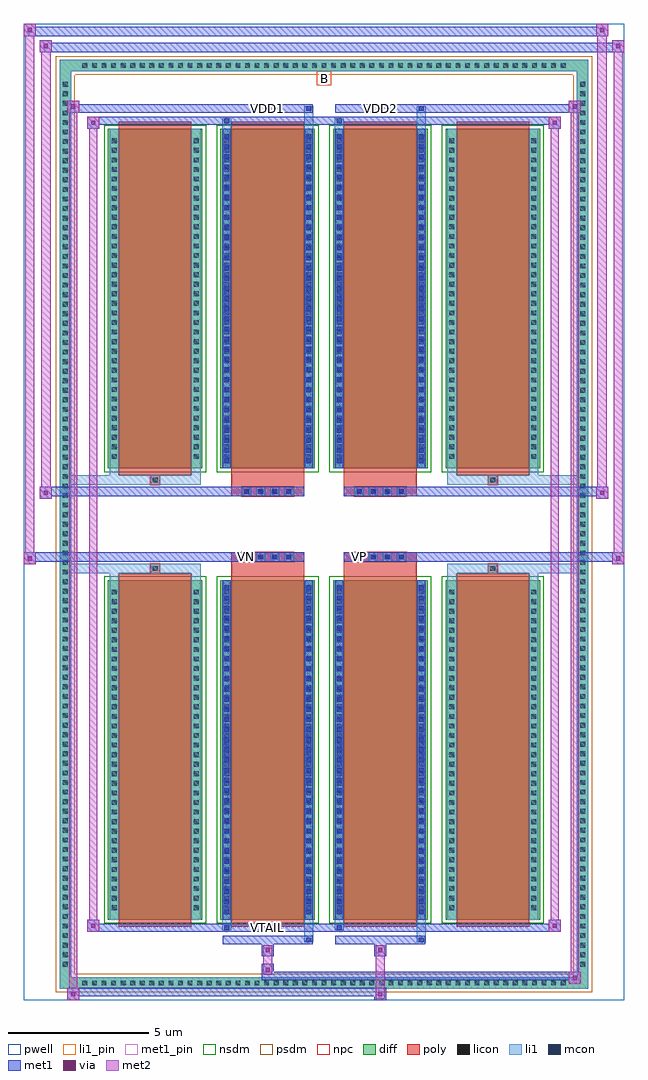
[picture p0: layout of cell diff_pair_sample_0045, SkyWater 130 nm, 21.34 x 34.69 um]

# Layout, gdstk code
import gdstk
lib = gdstk.Library(unit=1e-6, precision=5e-09)
def R(c, l, rs):  # rectangles x0, y0, x1, y1
    for r in rs: c.add(gdstk.rectangle(r[:2], r[2:], *l))
def A(c, l, x, y, w, h, nx, ny, dx, dy):  # array of equal rectangles
    R(c, l, [(x+i*dx, y+j*dy, x+i*dx+w, y+j*dy+h) for i in range(nx) for j in range(ny)])
def P(c, l, *ps):  # polygons
    for p in ps: c.add(gdstk.Polygon(p, *l))
pwell = (64, 44)
diff = (65, 20)
poly = (66, 20)
licon = (66, 44)
li1_pin = (67, 16)
li1 = (67, 20)
mcon = (67, 44)
met1_pin = (68, 16)
met1 = (68, 20)
via = (68, 44)
met2 = (69, 20)
nsdm = (93, 44)
psdm = (94, 20)
npc = (95, 20)

diff_pair_sample_0045 = lib.new_cell('diff_pair_sample_0045')
R(diff_pair_sample_0045, pwell, [(-10.67,-16.91,10.67,17.78), (-7.99,-15.1,-0.01,-0.8), (0.01,-15.1,7.99,-0.8), (-7.99,0.8,-0.01,15.1), (0.01,0.8,7.99,15.1)])
A(diff_pair_sample_0045, diff, -8.705, -16.51, 0.41, 0.41, 51, 2, 0.34, 32.61)
A(diff_pair_sample_0045, diff, -9.4, -15.845, 0.41, 0.41, 1, 93, 0, 0.34)
A(diff_pair_sample_0045, diff, 8.99, -15.845, 0.41, 0.41, 1, 93, 0, 0.34)
A(diff_pair_sample_0045, diff, -7.68, -14.055, 3.36, 12.07, 4, 2, 4, 16.04)
R(diff_pair_sample_0045, diff, [(-8.705,-16.51,8.705,-16.1), (-9.4,-15.845,-8.99,15.845), (8.99,-15.845,9.4,15.845), (-8.705,16.1,8.705,16.51)])
P(diff_pair_sample_0045, diff, [(9.4,16.51),(-9.4,16.51),(-9.4,-16.1),(-8.99,-16.1),(-8.99,16.1),(8.99,16.1),(8.99,-16.1),(-8.99,-16.1),(-9.4,-16.1),(-9.4,-16.51),(9.4,-16.51)])
A(diff_pair_sample_0045, poly, -7.29, -14.305, 2.58, 12.57, 4, 2, 4, 16.04)
A(diff_pair_sample_0045, poly, -2.915, -1.33, 0.33, 0.33, 4, 2, 0.5, 2.33)
A(diff_pair_sample_0045, poly, 1.085, -1.33, 0.33, 0.33, 4, 2, 0.5, 2.33)
R(diff_pair_sample_0045, poly, [(-6.165,-1.735,-5.835,-1.405), (-6.165,-1.735,-5.835,-1.405), (-3.29,-1.735,-0.71,-1.33), (0.71,-1.735,3.29,-1.33), (5.835,-1.735,6.165,-1.405), (5.835,-1.735,6.165,-1.405), (-3.29,-1.33,-0.71,-1), (0.71,-1.33,3.29,-1), (-3.29,1,-0.71,1.33), (0.71,1,3.29,1.33), (-3.29,1.33,-0.71,1.735), (0.71,1.33,3.29,1.735), (-6.165,1.405,-5.835,1.735), (-6.165,1.405,-5.835,1.735), (5.835,1.405,6.165,1.735), (5.835,1.405,6.165,1.735)])
A(diff_pair_sample_0045, licon, -8.585, -16.39, 0.17, 0.17, 51, 2, 0.34, 32.61)
A(diff_pair_sample_0045, licon, -9.28, -15.725, 0.17, 0.17, 1, 93, 0, 0.34)
A(diff_pair_sample_0045, licon, 9.11, -15.725, 0.17, 0.17, 1, 93, 0, 0.34)
A(diff_pair_sample_0045, licon, -7.54, -13.715, 0.17, 0.17, 1, 34, 0, 0.34)
A(diff_pair_sample_0045, licon, -4.63, -13.715, 0.17, 0.17, 1, 34, 0, 0.34)
A(diff_pair_sample_0045, licon, -3.54, -13.715, 0.17, 0.17, 1, 34, 0, 0.34)
A(diff_pair_sample_0045, licon, -0.63, -13.715, 0.17, 0.17, 1, 34, 0, 0.34)
A(diff_pair_sample_0045, licon, 0.46, -13.715, 0.17, 0.17, 1, 34, 0, 0.34)
A(diff_pair_sample_0045, licon, 3.37, -13.715, 0.17, 0.17, 1, 34, 0, 0.34)
A(diff_pair_sample_0045, licon, 4.46, -13.715, 0.17, 0.17, 1, 34, 0, 0.34)
A(diff_pair_sample_0045, licon, 7.37, -13.715, 0.17, 0.17, 1, 34, 0, 0.34)
A(diff_pair_sample_0045, licon, -2.835, -1.25, 0.17, 0.17, 4, 2, 0.5, 2.33)
A(diff_pair_sample_0045, licon, 1.165, -1.25, 0.17, 0.17, 4, 2, 0.5, 2.33)
A(diff_pair_sample_0045, licon, -7.54, 2.325, 0.17, 0.17, 1, 34, 0, 0.34)
A(diff_pair_sample_0045, licon, -4.63, 2.325, 0.17, 0.17, 1, 34, 0, 0.34)
A(diff_pair_sample_0045, licon, -3.54, 2.325, 0.17, 0.17, 1, 34, 0, 0.34)
A(diff_pair_sample_0045, licon, -0.63, 2.325, 0.17, 0.17, 1, 34, 0, 0.34)
A(diff_pair_sample_0045, licon, 0.46, 2.325, 0.17, 0.17, 1, 34, 0, 0.34)
A(diff_pair_sample_0045, licon, 3.37, 2.325, 0.17, 0.17, 1, 34, 0, 0.34)
A(diff_pair_sample_0045, licon, 4.46, 2.325, 0.17, 0.17, 1, 34, 0, 0.34)
A(diff_pair_sample_0045, licon, 7.37, 2.325, 0.17, 0.17, 1, 34, 0, 0.34)
R(diff_pair_sample_0045, licon, [(-6.085,-1.655,-5.915,-1.485), (5.915,-1.655,6.085,-1.485), (-6.085,1.485,-5.915,1.655), (5.915,1.485,6.085,1.655)])
R(diff_pair_sample_0045, li1_pin, [(-0.25,15.6,0.25,16.1)])
A(diff_pair_sample_0045, li1, -8.665, -16.47, 0.33, 0.33, 51, 2, 0.34, 32.61)
A(diff_pair_sample_0045, li1, -9.36, -15.805, 0.33, 0.33, 1, 93, 0, 0.34)
A(diff_pair_sample_0045, li1, 9.03, -15.805, 0.33, 0.33, 1, 93, 0, 0.34)
A(diff_pair_sample_0045, li1, -3.54, -13.865, 0.17, 0.17, 1, 33, 0, 0.36)
A(diff_pair_sample_0045, li1, -0.63, -13.865, 0.17, 0.17, 1, 33, 0, 0.36)
A(diff_pair_sample_0045, li1, 0.46, -13.865, 0.17, 0.17, 1, 33, 0, 0.36)
A(diff_pair_sample_0045, li1, 3.37, -13.865, 0.17, 0.17, 1, 33, 0, 0.36)
A(diff_pair_sample_0045, li1, -7.62, -13.795, 0.33, 0.33, 1, 34, 0, 0.34)
A(diff_pair_sample_0045, li1, -4.71, -13.795, 0.33, 0.33, 1, 34, 0, 0.34)
A(diff_pair_sample_0045, li1, -3.62, -13.795, 0.33, 0.33, 1, 34, 0, 0.34)
A(diff_pair_sample_0045, li1, -0.71, -13.795, 0.33, 0.33, 1, 34, 0, 0.34)
A(diff_pair_sample_0045, li1, 0.38, -13.795, 0.33, 0.33, 1, 34, 0, 0.34)
A(diff_pair_sample_0045, li1, 3.29, -13.795, 0.33, 0.33, 1, 34, 0, 0.34)
A(diff_pair_sample_0045, li1, 4.38, -13.795, 0.33, 0.33, 1, 34, 0, 0.34)
A(diff_pair_sample_0045, li1, 7.29, -13.795, 0.33, 0.33, 1, 34, 0, 0.34)
A(diff_pair_sample_0045, li1, -2.915, -1.33, 0.33, 0.33, 4, 2, 0.5, 2.33)
A(diff_pair_sample_0045, li1, 1.085, -1.33, 0.33, 0.33, 4, 2, 0.5, 2.33)
A(diff_pair_sample_0045, li1, -3.54, 2.175, 0.17, 0.17, 1, 33, 0, 0.36)
A(diff_pair_sample_0045, li1, -0.63, 2.175, 0.17, 0.17, 1, 33, 0, 0.36)
A(diff_pair_sample_0045, li1, 0.46, 2.175, 0.17, 0.17, 1, 33, 0, 0.36)
A(diff_pair_sample_0045, li1, 3.37, 2.175, 0.17, 0.17, 1, 33, 0, 0.36)
A(diff_pair_sample_0045, li1, -7.62, 2.245, 0.33, 0.33, 1, 34, 0, 0.34)
A(diff_pair_sample_0045, li1, -4.71, 2.245, 0.33, 0.33, 1, 34, 0, 0.34)
A(diff_pair_sample_0045, li1, -3.62, 2.245, 0.33, 0.33, 1, 34, 0, 0.34)
A(diff_pair_sample_0045, li1, -0.71, 2.245, 0.33, 0.33, 1, 34, 0, 0.34)
A(diff_pair_sample_0045, li1, 0.38, 2.245, 0.33, 0.33, 1, 34, 0, 0.34)
A(diff_pair_sample_0045, li1, 3.29, 2.245, 0.33, 0.33, 1, 34, 0, 0.34)
A(diff_pair_sample_0045, li1, 4.38, 2.245, 0.33, 0.33, 1, 34, 0, 0.34)
A(diff_pair_sample_0045, li1, 7.29, 2.245, 0.33, 0.33, 1, 34, 0, 0.34)
R(diff_pair_sample_0045, li1, [(-9.4,-16.51,-8.99,-16.1), (-9.4,-16.51,-8.99,-16.1), (-8.99,-16.51,8.99,-16.1), (8.99,-16.51,9.4,-16.1), (8.99,-16.51,9.4,-16.1), (-9.4,-16.1,-8.99,16.1), (8.99,-16.1,9.4,16.1), (-0.71,-14.86,-0.38,-14.055), (-0.63,-14.86,-0.46,-14.69), (3.29,-14.86,3.62,-14.055), (3.37,-14.86,3.54,-14.69), (-3.62,-14.43,-3.29,-14.055), (-3.54,-14.43,-3.37,-14.26), (0.38,-14.43,0.71,-14.055), (0.46,-14.43,0.63,-14.26), (-7.62,-14.055,-7.29,-1.985), (-4.71,-14.055,-4.38,-1.985), (-3.62,-14.055,-3.29,-1.985), (-0.71,-14.055,-0.38,-1.985), (0.38,-14.055,0.71,-1.985), (3.29,-14.055,3.62,-1.985), (4.38,-14.055,4.71,-1.985), (7.29,-14.055,7.62,-1.985), (-3.54,-13.865,-3.37,-2.175), (-0.63,-13.865,-0.46,-2.175), (0.46,-13.865,0.63,-2.175), (3.37,-13.865,3.54,-2.175), (-7.62,-1.985,-7.29,-1.405), (-4.71,-1.985,-4.38,-1.405), (4.38,-1.985,4.71,-1.405), (7.29,-1.985,7.62,-1.405), (-9.4,-1.735,-6.165,-1.405), (-7.62,-1.735,-6.165,-1.405), (-6.165,-1.735,-5.835,-1.405), (-5.835,-1.735,-4.38,-1.405), (4.38,-1.735,5.835,-1.405), (5.835,-1.735,6.165,-1.405), (5.835,-1.735,9.4,-1.405), (6.165,-1.735,7.62,-1.405), (-9.4,1.405,-6.165,1.735), (-7.62,1.405,-6.165,1.735), (-7.62,1.405,-7.29,1.985), (-6.165,1.405,-5.835,1.735), (-5.835,1.405,-4.38,1.735), (-4.71,1.405,-4.38,1.985), (4.38,1.405,5.835,1.735), (4.38,1.405,4.71,1.985), (5.835,1.405,6.165,1.735), (5.835,1.405,9.4,1.735), (6.165,1.405,7.62,1.735), (7.29,1.405,7.62,1.985), (-7.62,1.985,-7.29,14.055), (-4.71,1.985,-4.38,14.055), (-3.62,1.985,-3.29,14.055), (-0.71,1.985,-0.38,14.055), (0.38,1.985,0.71,14.055), (3.29,1.985,3.62,14.055), (4.38,1.985,4.71,14.055), (7.29,1.985,7.62,14.055), (-3.54,2.175,-3.37,13.865), (-0.63,2.175,-0.46,13.865), (0.46,2.175,0.63,13.865), (3.37,2.175,3.54,13.865), (-3.62,14.055,-3.29,14.43), (-0.71,14.055,-0.38,14.86), (0.38,14.055,0.71,14.43), (3.29,14.055,3.62,14.86), (-3.54,14.26,-3.37,14.43), (0.46,14.26,0.63,14.43), (-0.63,14.69,-0.46,14.86), (3.37,14.69,3.54,14.86), (-9.4,16.1,-8.99,16.51), (-9.4,16.1,-8.99,16.51), (-8.99,16.1,8.99,16.51), (8.99,16.1,9.4,16.51), (8.99,16.1,9.4,16.51)])
A(diff_pair_sample_0045, mcon, -3.54, -13.865, 0.17, 0.17, 1, 33, 0, 0.36)
A(diff_pair_sample_0045, mcon, -0.63, -13.865, 0.17, 0.17, 1, 33, 0, 0.36)
A(diff_pair_sample_0045, mcon, 0.46, -13.865, 0.17, 0.17, 1, 33, 0, 0.36)
A(diff_pair_sample_0045, mcon, 3.37, -13.865, 0.17, 0.17, 1, 33, 0, 0.36)
A(diff_pair_sample_0045, mcon, -2.835, -1.25, 0.17, 0.17, 4, 2, 0.5, 2.33)
A(diff_pair_sample_0045, mcon, 1.165, -1.25, 0.17, 0.17, 4, 2, 0.5, 2.33)
A(diff_pair_sample_0045, mcon, -3.54, 2.175, 0.17, 0.17, 1, 33, 0, 0.36)
A(diff_pair_sample_0045, mcon, -0.63, 2.175, 0.17, 0.17, 1, 33, 0, 0.36)
A(diff_pair_sample_0045, mcon, 0.46, 2.175, 0.17, 0.17, 1, 33, 0, 0.36)
A(diff_pair_sample_0045, mcon, 3.37, 2.175, 0.17, 0.17, 1, 33, 0, 0.36)
R(diff_pair_sample_0045, mcon, [(-0.63,-14.86,-0.46,-14.69), (3.37,-14.86,3.54,-14.69), (-3.54,-14.43,-3.37,-14.26), (0.46,-14.43,0.63,-14.26), (-3.54,14.26,-3.37,14.43), (0.46,14.26,0.63,14.43), (-0.63,14.69,-0.46,14.86), (3.37,14.69,3.54,14.86)])
R(diff_pair_sample_0045, met1_pin, [(-2.135,-14.47,-1.865,-14.2), (-2.885,-1.29,-2.615,-1.02), (1.115,-1.29,1.385,-1.02), (-2.135,14.65,-1.865,14.92), (1.865,14.65,2.135,14.92)])
A(diff_pair_sample_0045, met1, -3.6, -13.925, 0.29, 0.29, 1, 33, 0, 0.36)
A(diff_pair_sample_0045, met1, -0.69, -13.925, 0.29, 0.29, 1, 33, 0, 0.36)
A(diff_pair_sample_0045, met1, 0.4, -13.925, 0.29, 0.29, 1, 33, 0, 0.36)
A(diff_pair_sample_0045, met1, 3.31, -13.925, 0.29, 0.29, 1, 33, 0, 0.36)
A(diff_pair_sample_0045, met1, -2.895, -1.31, 0.29, 0.29, 4, 2, 0.5, 2.33)
A(diff_pair_sample_0045, met1, 1.105, -1.31, 0.29, 0.29, 4, 2, 0.5, 2.33)
A(diff_pair_sample_0045, met1, -3.6, 2.115, 0.29, 0.29, 1, 33, 0, 0.36)
A(diff_pair_sample_0045, met1, -0.69, 2.115, 0.29, 0.29, 1, 33, 0, 0.36)
A(diff_pair_sample_0045, met1, 0.4, 2.115, 0.29, 0.29, 1, 33, 0, 0.36)
A(diff_pair_sample_0045, met1, 3.31, 2.115, 0.29, 0.29, 1, 33, 0, 0.36)
R(diff_pair_sample_0045, met1, [(-9.13,-16.91,-8.7,-16.48), (1.785,-16.91,2.215,-16.48), (-9.13,-16.77,2.215,-16.48), (8.7,-16.34,9.13,-15.91), (-2.215,-16.2,9.13,-15.91), (-2.215,-16.06,-1.785,-15.63), (-2.215,-15.35,-1.785,-14.92), (1.785,-15.35,2.215,-14.92), (-3.6,-14.92,-0.4,-14.63), (-0.69,-14.92,-0.4,-14.63), (0.4,-14.92,3.6,-14.63), (3.31,-14.92,3.6,-14.63), (-8.42,-14.49,-7.99,-14.06), (-8.42,-14.49,-3.6,-14.2), (-3.6,-14.49,-3.31,-14.2), (-3.6,-14.49,-0.4,-14.2), (-0.4,-14.49,0.4,-14.2), (0.4,-14.49,0.69,-14.2), (0.4,-14.49,3.6,-14.2), (3.6,-14.49,8.42,-14.2), (7.99,-14.49,8.42,-14.06), (-3.6,-14.055,-3.31,-1.985), (-0.69,-14.055,-0.4,-1.985), (0.4,-14.055,0.69,-1.985), (3.31,-14.055,3.6,-1.985), (-10.67,-1.43,-10.24,-1), (10.24,-1.43,10.67,-1), (-10.67,-1.33,-0.71,-1), (-3.29,-1.33,-0.71,-1), (0.71,-1.33,3.29,-1), (0.71,-1.33,10.67,-1), (-10.1,0.9,-9.67,1.33), (9.67,0.9,10.1,1.33), (-10.1,1,-3.29,1.33), (-3.29,1,-0.71,1.33), (0.71,1,3.29,1.33), (3.29,1,10.1,1.33), (-3.6,1.985,-3.31,14.055), (-0.69,1.985,-0.4,14.055), (0.4,1.985,0.69,14.055), (3.31,1.985,3.6,14.055), (-8.42,14.06,-7.99,14.49), (7.99,14.06,8.42,14.49), (-8.42,14.2,-3.6,14.49), (-3.6,14.2,-3.31,14.49), (-3.6,14.2,-0.4,14.49), (-0.4,14.2,0.4,14.49), (0.4,14.2,0.69,14.49), (0.4,14.2,3.6,14.49), (3.6,14.2,8.42,14.49), (-9.13,14.63,-8.7,15.06), (-9.13,14.63,-3.6,14.92), (-3.6,14.63,-0.4,14.92), (-0.69,14.63,-0.4,14.92), (0.4,14.63,3.6,14.92), (3.31,14.63,3.6,14.92), (3.6,14.63,9.13,14.92), (8.7,14.63,9.13,15.06), (-10.1,16.78,-9.67,17.21), (-10.1,16.78,-7.99,17.11), (-7.99,16.78,7.99,17.11), (7.99,16.78,10.67,17.11), (10.24,16.78,10.67,17.21), (-10.67,17.35,-10.24,17.78), (-10.67,17.35,-7.99,17.68), (-7.99,17.35,7.99,17.68), (7.99,17.35,10.1,17.68), (9.67,17.35,10.1,17.78)])
R(diff_pair_sample_0045, via, [(-8.99,-16.77,-8.84,-16.62), (1.925,-16.77,2.075,-16.62), (8.84,-16.2,8.99,-16.05), (-2.075,-15.92,-1.925,-15.77), (-2.075,-15.21,-1.925,-15.06), (1.925,-15.21,2.075,-15.06), (-8.28,-14.35,-8.13,-14.2), (8.13,-14.35,8.28,-14.2), (-10.53,-1.29,-10.38,-1.14), (10.38,-1.29,10.53,-1.14), (-9.96,1.04,-9.81,1.19), (9.81,1.04,9.96,1.19), (-8.28,14.2,-8.13,14.35), (8.13,14.2,8.28,14.35), (-8.99,14.77,-8.84,14.92), (8.84,14.77,8.99,14.92), (-9.96,16.92,-9.81,17.07), (10.38,16.92,10.53,17.07), (-10.53,17.49,-10.38,17.64), (9.81,17.49,9.96,17.64)])
R(diff_pair_sample_0045, met2, [(-9.13,-16.91,-8.7,-16.48), (-9.06,-16.91,-8.77,15.06), (-8.77,-16.91,-8.7,-16.48), (-9.08,-16.86,-8.75,-16.53), (1.835,-16.86,2.165,-16.53), (1.835,-16.53,2.165,-15.3), (8.7,-16.34,9.13,-15.91), (8.77,-16.34,9.06,15.06), (9.06,-16.34,9.13,-15.91), (8.75,-16.29,9.08,-15.96), (-2.165,-16.01,-1.835,-15.68), (-2.165,-15.68,-1.835,-15.3), (-2.165,-15.3,-1.835,-14.97), (1.835,-15.3,2.165,-14.97), (-8.42,-14.49,-7.99,-14.06), (-8.35,-14.49,-8.06,14.49), (-8.06,-14.49,-7.99,-14.06), (7.99,-14.49,8.42,-14.06), (8.06,-14.49,8.35,14.49), (8.35,-14.49,8.42,-14.06), (-8.37,-14.44,-8.04,-14.11), (8.04,-14.44,8.37,-14.11), (-10.67,-1.43,-10.24,-1), (-10.62,-1.43,-10.29,17.78), (-10.29,-1.43,-10.24,-1), (10.24,-1.43,10.67,-1), (10.29,-1.43,10.62,17.21), (10.62,-1.43,10.67,-1), (-10.62,-1.38,-10.29,-1.05), (10.29,-1.38,10.62,-1.05), (-10.1,0.9,-9.67,1.33), (-10.05,0.9,-9.72,17.21), (-9.72,0.9,-9.67,1.33), (9.67,0.9,10.1,1.33), (9.72,0.9,10.05,17.78), (10.05,0.9,10.1,1.33), (-10.05,0.95,-9.72,1.28), (9.72,0.95,10.05,1.28), (-8.42,14.06,-7.99,14.49), (-8.06,14.06,-7.99,14.49), (7.99,14.06,8.42,14.49), (8.35,14.06,8.42,14.49), (-8.37,14.11,-8.04,14.44), (8.04,14.11,8.37,14.44), (-9.13,14.63,-8.7,15.06), (-8.77,14.63,-8.7,15.06), (8.7,14.63,9.13,15.06), (9.06,14.63,9.13,15.06), (-9.08,14.68,-8.75,15.01), (8.75,14.68,9.08,15.01), (-10.1,16.78,-9.67,17.21), (-9.72,16.78,-9.67,17.21), (10.24,16.78,10.67,17.21), (10.62,16.78,10.67,17.21), (-10.05,16.83,-9.72,17.16), (10.29,16.83,10.62,17.16), (-10.67,17.35,-10.24,17.78), (-10.29,17.35,-10.24,17.78), (9.67,17.35,10.1,17.78), (10.05,17.35,10.1,17.78), (-10.62,17.4,-10.29,17.73), (9.72,17.4,10.05,17.73)])
A(diff_pair_sample_0045, nsdm, -7.81, -14.185, 3.62, 12.33, 4, 2, 4, 16.04)
P(diff_pair_sample_0045, psdm, [(9.53,16.64),(-9.53,16.64),(-9.53,-15.97),(-8.86,-15.97),(-8.86,15.97),(8.86,15.97),(8.86,-15.97),(-8.86,-15.97),(-9.53,-15.97),(-9.53,-16.64),(9.53,-16.64)])
A(diff_pair_sample_0045, npc, -2.935, -1.35, 0.37, 0.37, 4, 2, 0.5, 2.33)
A(diff_pair_sample_0045, npc, 1.065, -1.35, 0.37, 0.37, 4, 2, 0.5, 2.33)
R(diff_pair_sample_0045, npc, [(-6.185,-1.755,-5.815,-1.385), (5.815,-1.755,6.185,-1.385), (-2.935,-1.35,-2.065,-0.98), (-2.935,-1.35,-2.065,-0.98), (-2.435,-1.35,-1.565,-0.98), (-2.435,-1.35,-1.565,-0.98), (-1.935,-1.35,-1.065,-0.98), (-1.935,-1.35,-1.065,-0.98), (1.065,-1.35,1.935,-0.98), (1.065,-1.35,1.935,-0.98), (1.565,-1.35,2.435,-0.98), (1.565,-1.35,2.435,-0.98), (2.065,-1.35,2.935,-0.98), (2.065,-1.35,2.935,-0.98), (-2.935,0.98,-2.065,1.35), (-2.935,0.98,-2.065,1.35), (-2.435,0.98,-1.565,1.35), (-2.435,0.98,-1.565,1.35), (-1.935,0.98,-1.065,1.35), (-1.935,0.98,-1.065,1.35), (1.065,0.98,1.935,1.35), (1.065,0.98,1.935,1.35), (1.565,0.98,2.435,1.35), (1.565,0.98,2.435,1.35), (2.065,0.98,2.935,1.35), (2.065,0.98,2.935,1.35), (-6.185,1.385,-5.815,1.755), (5.815,1.385,6.185,1.755)])
diff_pair_sample_0045.add(gdstk.Label('VTAIL', (-2,-14.335), layer=68, texttype=5))
diff_pair_sample_0045.add(gdstk.Label('VN', (-2.75,-1.155), layer=68, texttype=5))
diff_pair_sample_0045.add(gdstk.Label('VP', (1.25,-1.155), layer=68, texttype=5))
diff_pair_sample_0045.add(gdstk.Label('B', (0,15.85), layer=67, texttype=5))
diff_pair_sample_0045.add(gdstk.Label('VDD2', (2,14.785), layer=68, texttype=5))
diff_pair_sample_0045.add(gdstk.Label('VDD1', (-2,14.785), layer=68, texttype=5))

lib.write_gds('diff_pair_sample_0045.gds')
